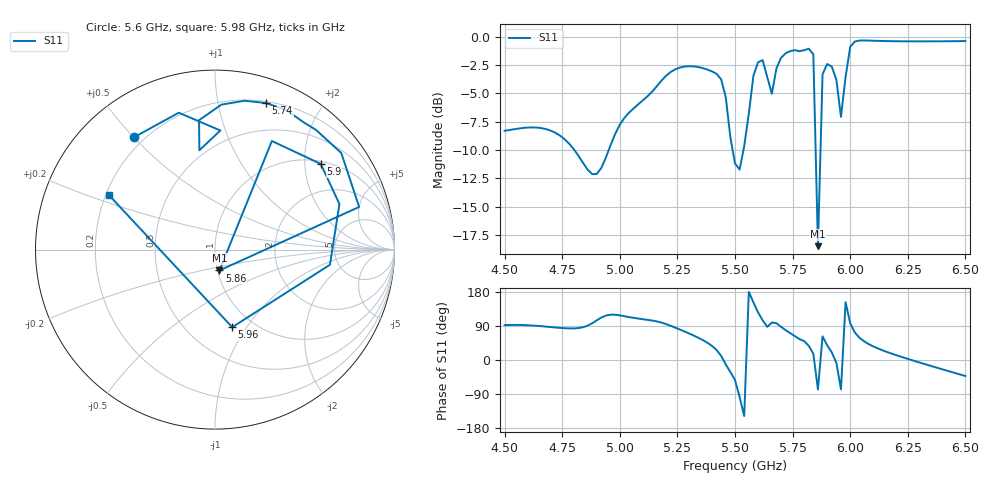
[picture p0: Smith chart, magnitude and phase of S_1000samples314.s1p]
! TOUCHSTONE file generated by CST MICROWAVE STUDIO
! Date and time: Thu Oct 27 17:59:21 2022
! Project name: L.cst
! Parameters = {Di=1.27; Epsilon_r=1.56; InnerDiameter=1.27; Length=2; Lf=10; Lg=60; OuterConductorThickness=0.2921; OuterDiameter=3.6; Wf=3; Wp=41.2; de=1.5; df=6.8; g=0.8; gx=1.53024; gy=1.96387; h=2.34; hf=1.524; px=14.8277; py=14.9441; w=9.7; wx=13.2974; wy=12.9802}
! Header version: 2018
! Port assignment regex: !\s*Touchstone port\s*([0-9]+)\s*=\s*(CST MWS port|CST DS port)\s*([0-9]+|Zmin|Zmax)\s*\(\"(.*)\"\)(\s*mode\s*([0-9]+))?.*
! Touchstone port assignment:
! Touchstone port 1 = CST MWS port 1 ("")
# GHz S DB R 50
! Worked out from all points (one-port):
!   101 points, 4.5 GHz to 6.5 GHz, reference 50 ohm
!   lowest |S11| = -18.5 dB at 5.86 GHz (marker M1), VSWR 1.27, Z = 51.1 - j12.1 ohm
!   |S11| at or under -10 dB: 4.803 GHz to 4.952 GHz (149.4 MHz wide, 3.06 % of centre); 5.49 GHz to 5.537 GHz (47.04 MHz wide, 0.853 % of centre); 5.849976 GHz to 5.871193 GHz (21.22 MHz wide, 0.362 % of centre)
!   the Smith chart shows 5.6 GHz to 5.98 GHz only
!   S11 on the Smith chart (normalised r, x): 5.6 GHz: 0.16, +0.50; 5.74 GHz: 0.21, +1.39; 5.86 GHz: 1.02, -0.24; 5.9 GHz: 1.07, +2.41; 5.96 GHz: 0.80, -0.86; 5.98 GHz: 0.21, +0.23
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4.5  -8.30 92.0
4.76  -9.04 83.9
4.9  -12.12 104.7
5  -7.77 117.8
5.26  -2.72 80.6
5.38  -2.90 45.6
5.44  -3.76 10.8
5.5  -11.19 -52.7
5.54  -9.66 -147.9
5.58  -3.43 152.0
5.6  -2.25 125.7
5.64  -3.55 87.4
5.68  -2.78 97.0
5.74  -1.26 70.7
5.76  -1.18 63.0
5.82  -1.05 37.4
5.84  -1.54 16.5
5.86  -18.50 -77.9
5.88  -3.31 62.4
5.9  -2.40 39.0
5.94  -3.80 -7.5
5.96  -7.07 -77.5
5.98  -3.54 152.8
6  -0.89 96.9
6.04  -0.33 58.9
6.08  -0.33 42.1
6.26  -0.40 1.0
6.5  -0.38 -42.3
